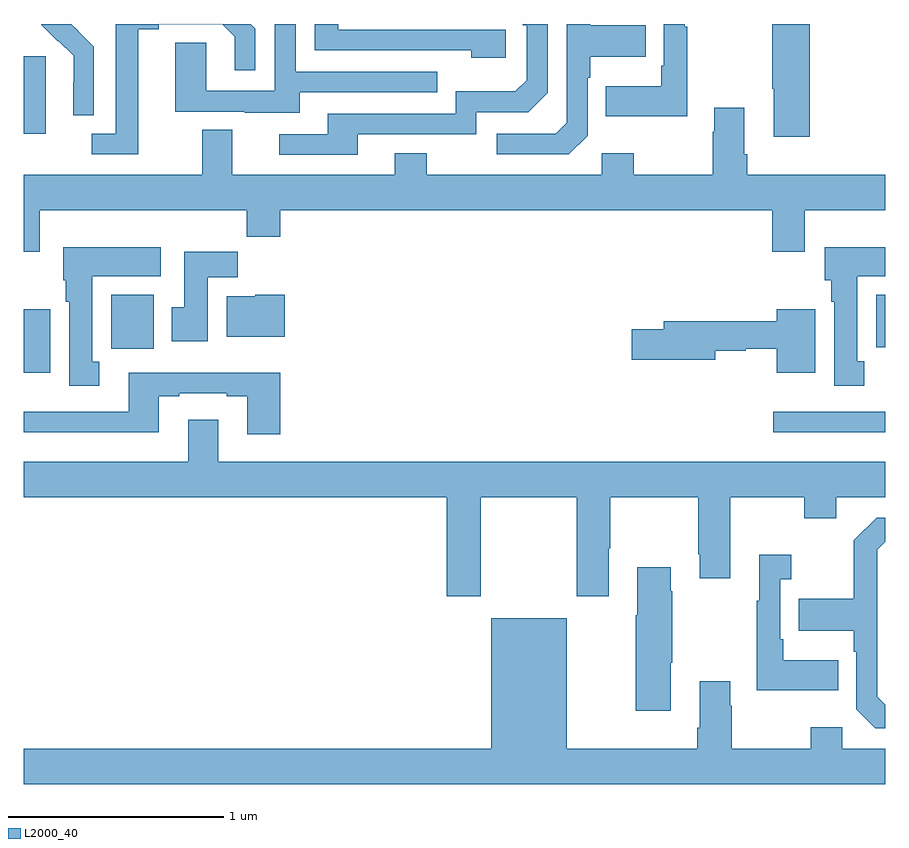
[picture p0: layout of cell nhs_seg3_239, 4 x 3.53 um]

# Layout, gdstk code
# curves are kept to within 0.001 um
import gdstk
lib = gdstk.Library(unit=1e-6, precision=1e-09)
def R(c, l, rs):  # rectangles x0, y0, x1, y1
    for r in rs: c.add(gdstk.rectangle(r[:2], r[2:], *l))
def P(c, l, *ps):  # polygons
    for p in ps: c.add(gdstk.Polygon(p, *l))
L2000_40 = (2000, 40)

nhs_seg3_239 = lib.new_cell('nhs_seg3_239')
R(nhs_seg3_239, L2000_40, [(124.479,746.504,125,746.601), (121,746.78,121.123,747.076), (121.407,746.892,121.603,747.142), (124.958,746.9,125,747.142), (121,747.89,121.102,748.251)])
P(nhs_seg3_239, L2000_40, [(122.281,748.083),(122.921,748.083),(122.921,748.179),(122.262,748.179),(122.262,748.4),(122.166,748.4),(122.166,748.089),(121.848,748.089),(121.848,748.313),(121.703,748.313),(121.703,747.993),(122.027,747.993),(122.027,747.989),(122.281,747.989)],
  [(123.238,748.374),(122.461,748.374),(122.461,748.4),(122.352,748.4),(122.352,748.278),(123.077,748.278),(123.077,748.244),(123.238,748.244)],
  [(121.326,748.294),(121.222,748.4),(121.081,748.4),(121.081,748.397),(121.158,748.32),(121.161,748.323),(121.232,748.253),(121.232,748.13),(121.23,748.13),(121.23,747.976),(121.326,747.976)],
  [(121.531,748.376),(121.627,748.376),(121.627,748.398),(121.922,748.398),(121.979,748.341),(121.979,748.185),(122.076,748.185),(122.076,748.378),(122.054,748.4),(121.426,748.4),(121.427,747.891),(121.317,747.891),(121.317,747.795),(121.531,747.795)],
  [(122.551,747.888),(123.102,747.888),(123.102,747.99),(123.342,747.99),(123.432,748.08),(123.432,748.4),(123.316,748.4),(123.316,748.394),(123.336,748.394),(123.336,748.14),(123.283,748.087),(123.006,748.087),(123.006,747.984),(122.411,747.984),(122.411,747.888),(122.187,747.888),(122.187,747.792),(122.551,747.792)],
  [(124.081,748.387),(124.069,748.387),(124.069,748.4),(123.972,748.4),(123.972,748.207),(123.96,748.207),(123.96,748.111),(123.703,748.111),(123.703,747.971),(124.081,747.971)],
  [(123.618,747.882),(123.618,748.151),(123.631,748.151),(123.631,748.247),(123.887,748.247),(123.887,748.395),(123.631,748.395),(123.631,748.4),(123.522,748.4),(123.522,747.942),(123.471,747.891),(123.195,747.891),(123.195,747.795),(123.531,747.795)],
  [(124.649,748.4),(124.474,748.4),(124.474,748.099),(124.481,748.099),(124.481,747.876),(124.649,747.876)],
  [(121.075,747.536),(122.035,747.536),(122.035,747.412),(122.192,747.412),(122.192,747.536),(124.475,747.536),(124.475,747.342),(124.627,747.342),(124.627,747.536),(125,747.536),(125,747.7),(124.358,747.7),(124.358,747.796),(124.345,747.796),(124.345,748.012),(124.205,748.012),(124.205,747.899),(124.198,747.899),(124.198,747.7),(123.831,747.7),(123.831,747.799),(123.684,747.799),(123.684,747.7),(122.871,747.7),(122.871,747.799),(122.723,747.799),(122.723,747.7),(121.969,747.7),(121.969,747.908),(121.829,747.908),(121.829,747.7),(121,747.7),(121,747.342),(121.075,747.342)],
  [(121.351,746.833),(121.318,746.833),(121.318,747.23),(121.636,747.23),(121.636,747.364),(121.184,747.364),(121.184,747.21),(121.196,747.21),(121.196,747.11),(121.211,747.11),(121.211,746.721),(121.351,746.721)],
  [(124.903,746.834),(124.87,746.834),(124.87,747.23),(125,747.23),(125,747.364),(124.718,747.364),(124.718,747.21),(124.748,747.21),(124.748,747.11),(124.763,747.11),(124.763,746.721),(124.903,746.721)],
  [(121.855,747.224),(121.994,747.224),(121.994,747.343),(121.745,747.343),(121.745,747.084),(121.688,747.084),(121.688,746.928),(121.855,746.928)],
  [(122.212,747.142),(122.076,747.142),(122.076,747.136),(121.943,747.136),(121.943,746.948),(122.212,746.948)],
  [(124.675,747.076),(124.496,747.076),(124.496,747.02),(123.971,747.02),(123.971,746.984),(123.822,746.984),(123.822,746.842),(124.21,746.842),(124.21,746.884),(124.353,746.884),(124.353,746.892),(124.496,746.892),(124.496,746.78),(124.675,746.78)],
  [(122.192,746.782),(121.487,746.782),(121.487,746.601),(121,746.601),(121,746.504),(121.627,746.504),(121.627,746.673),(121.723,746.673),(121.723,746.685),(121.943,746.685),(121.943,746.673),(122.039,746.673),(122.039,746.496),(122.192,746.496)],
  [(123.123,746.204),(123.568,746.204),(123.568,745.743),(123.715,745.743),(123.715,745.966),(123.723,745.966),(123.723,746.204),(124.132,746.204),(124.132,745.939),(124.139,745.939),(124.139,745.827),(124.279,745.827),(124.279,746.204),(124.624,746.204),(124.624,746.105),(124.771,746.105),(124.771,746.204),(125,746.204),(125,746.368),(121.903,746.368),(121.903,746.563),(121.763,746.563),(121.763,746.368),(121,746.368),(121,746.204),(122.963,746.204),(122.963,745.743),(123.123,745.743)],
  [(125,745.24),(124.962,745.278),(124.962,745.959),(125,745.997),(125,746.109),(124.959,746.109),(124.854,746.003),(124.854,745.731),(124.597,745.731),(124.597,745.583),(124.854,745.583),(124.854,745.487),(124.866,745.487),(124.866,745.218),(124.953,745.131),(125,745.131)],
  [(124.781,745.447),(124.525,745.447),(124.525,745.543),(124.512,745.543),(124.512,745.823),(124.564,745.823),(124.564,745.936),(124.415,745.936),(124.415,745.723),(124.404,745.723),(124.404,745.307),(124.781,745.307)],
  [(124.003,745.435),(124.011,745.435),(124.011,745.766),(124.003,745.766),(124.003,745.879),(123.848,745.879),(123.848,745.655),(123.841,745.655),(123.841,745.212),(124.003,745.212)],
  [(125,745.036),(124.8,745.036),(124.8,745.135),(124.654,745.135),(124.654,745.036),(124.287,745.036),(124.287,745.235),(124.279,745.235),(124.279,745.348),(124.139,745.348),(124.139,745.132),(124.127,745.132),(124.127,745.036),(123.52,745.036),(123.52,745.642),(123.17,745.642),(123.17,745.036),(121,745.036),(121,744.872),(125,744.872)])

lib.write_gds('nhs_seg3_239.gds')
